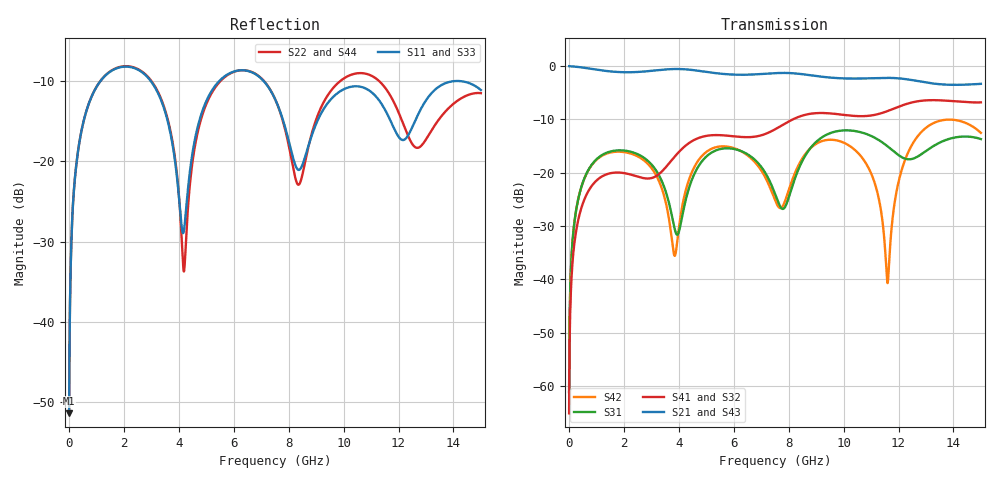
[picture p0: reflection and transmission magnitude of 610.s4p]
! Created with skrf 1.8.0 (http://scikit-rf.org).
# GHz S RI R 50.0
!freq ReS11 ImS11 ReS12 ImS12 ReS13 ImS13
! ReS14 ImS14
! ReS21 ImS21 ReS22 ImS22 ReS23 ImS23
! ReS24 ImS24
! ReS31 ImS31 ReS32 ImS32 ReS33 ImS33
! ReS34 ImS34
! ReS41 ImS41 ReS42 ImS42 ReS43 ImS43
! ReS44 ImS44
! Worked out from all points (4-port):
!   2499 points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, 5 MHz to 15 GHz, reference 50 ohm
!   strongest paths, dB at 5 MHz, 3.476 GHz, 7.19 GHz, 11.1 GHz, 15 GHz:
!     S21: 0.0, -0.7, -1.4, -2.3, -3.3
!     S43: 0.0, -0.7, -1.4, -2.3, -3.4
!     S41: -65.2, -19.3, -12.7, -9.2, -6.8
!     S32: -65.2, -19.3, -12.7, -9.2, -6.8
!     S31: -61.2, -22.8, -20.4, -13.3, -13.7
!     S42: -61.2, -24.6, -21.3, -21.4, -12.5
!   lowest |S11| = -51.4 dB at 5 MHz (marker M1), VSWR 1.01, Z = 50.2 + j0.163 ohm
!   |S11| at or under -10 dB: start of sweep to 1.142 GHz; 2.984 GHz to 5.466 GHz (2.482 GHz wide, 58.7 % of centre); 7.095 GHz to 13.99 GHz (6.896 GHz wide, 65.4 % of centre) (the widest 3 of 4)
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0.005  0.00215 0.00163  0.9978 -0.00417  0.00011 0.000867  -0.000107 -0.000542
       0.9978 -0.00417  0.00215 0.00163  -0.000107 -0.000542  0.00011 0.000867
       0.00011 0.000867  -0.000107 -0.000542  0.00215 0.00163  0.9978 -0.00417
       -0.000107 -0.000542  0.00011 0.000867  0.9978 -0.00417  0.00215 0.00163
1.269279  0.2904 0.1679  0.5003 -0.7545  0.1409 0.0502  -0.0941 0.00208
          0.5003 -0.7545  0.293 0.166  -0.0941 0.00203  0.1338 0.0611
          0.1409 0.0502  -0.0941 0.00203  0.2905 0.1679  0.5003 -0.7545
          -0.0941 0.00208  0.1338 0.0611  0.5003 -0.7545  0.293 0.166
4.145477  0.0356 -0.00344  -0.9315 -0.0852  -0.0171 0.038  -0.0105 0.1697
          -0.9315 -0.0852  0.0204 -0.0126  -0.0116 0.1697  0.0245 0.0456
          -0.0171 0.038  -0.0116 0.1697  0.034 -0.0031  -0.9316 -0.0849
          -0.0105 0.1697  0.0245 0.0456  -0.9316 -0.0849  0.0219 -0.0121
5.789912  0.3348 0.1022  -0.3687 0.7515  0.1687 -0.0136  0.2192 0.0354
          -0.3687 0.7515  0.3288 0.1104  0.219 0.0369  0.1744 -0.0166
          0.1687 -0.0136  0.219 0.0369  0.3354 0.1046  -0.3682 0.7512
          0.2192 0.0354  0.1744 -0.0166  -0.3682 0.7512  0.3308 0.1088
8.322218  0.0875 -0.0181  0.8343 0.1583  -0.0052 0.1023  0.0542 -0.3261
          0.8343 0.1583  0.0711 -0.0128  0.0576 -0.3257  -0.0252 0.1095
          -0.0052 0.1023  0.0576 -0.3257  0.087 -0.0193  0.8342 0.1585
          0.0542 -0.3261  -0.0252 0.1095  0.8342 0.1585  0.0726 -0.015
11.59858  0.1847 -0.0663  -0.4259 -0.6476  -0.0761 -0.1597  -0.3081 0.2191
          -0.4259 -0.6476  0.2313 -0.1482  -0.3115 0.215  0.00797 0.0046
          -0.0761 -0.1597  -0.3115 0.215  0.1888 -0.0657  -0.4254 -0.6468
          -0.3081 0.2191  0.00797 0.0046  -0.4254 -0.6468  0.2318 -0.1535
15  0.2609 -0.0981  -0.1071 0.6726  0.1572 -0.134  0.4562 -0.0175
    -0.1071 0.6726  0.2621 -0.0483  0.4547 -0.00665  0.2111 -0.1062
    0.1572 -0.134  0.4547 -0.00665  0.2686 -0.1018  -0.1061 0.6709
    0.4562 -0.0175  0.2111 -0.1062  -0.1061 0.6709  0.2645 -0.0458
